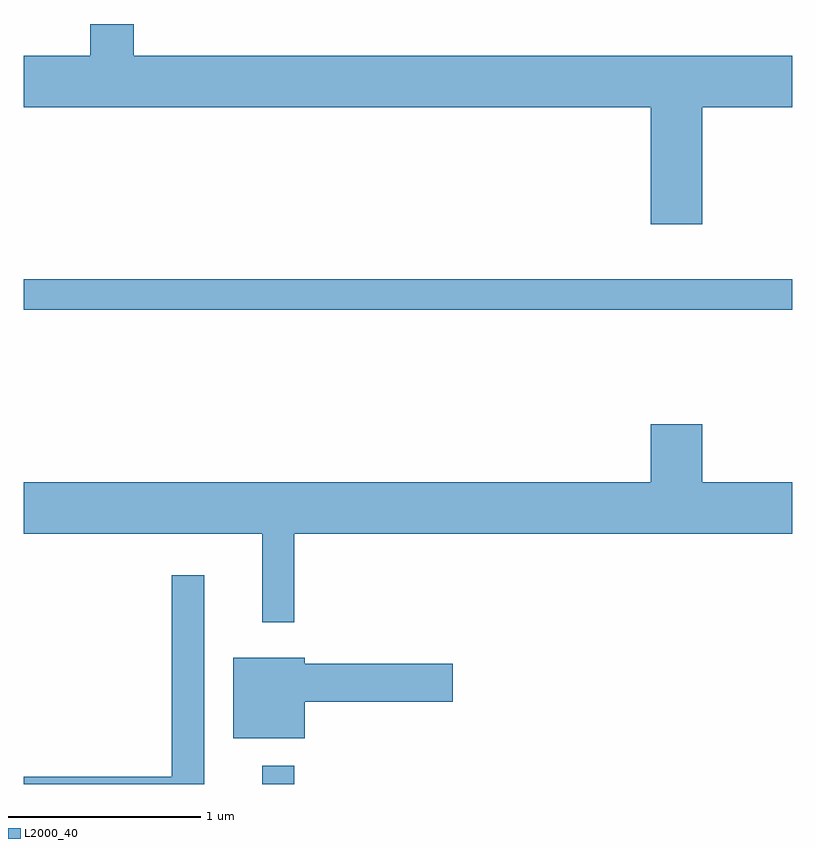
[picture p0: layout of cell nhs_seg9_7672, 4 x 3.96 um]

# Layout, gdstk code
import gdstk
lib = gdstk.Library(unit=1e-6, precision=1e-09)
def R(c, l, rs):  # rectangles x0, y0, x1, y1
    for r in rs: c.add(gdstk.rectangle(r[:2], r[2:], *l))
def P(c, l, *ps):  # polygons
    for p in ps: c.add(gdstk.Polygon(p, *l))
L2000_40 = (2000, 40)

nhs_seg9_7672 = lib.new_cell('nhs_seg9_7672')
R(nhs_seg9_7672, L2000_40, [(412.851,2070.432,413.019,2070.528), (411.611,2072.901,415.611,2073.059)])
P(nhs_seg9_7672, L2000_40, [(412.184,2074.389),(411.956,2074.389),(411.956,2074.224),(411.611,2074.224),(411.611,2073.956),(414.876,2073.956),(414.876,2073.346),(415.144,2073.346),(415.144,2073.956),(415.611,2073.956),(415.611,2074.224),(412.184,2074.224)],
  [(413.019,2071.736),(415.611,2071.736),(415.611,2072.004),(415.144,2072.004),(415.144,2072.304),(414.876,2072.304),(414.876,2072.004),(411.611,2072.004),(411.611,2071.736),(412.851,2071.736),(412.851,2071.273),(413.019,2071.273)],
  [(412.549,2071.518),(412.381,2071.518),(412.381,2070.469),(411.611,2070.469),(411.611,2070.432),(412.549,2070.432)],
  [(413.074,2070.861),(413.844,2070.861),(413.844,2071.059),(413.074,2071.059),(413.074,2071.089),(412.701,2071.089),(412.701,2070.671),(413.074,2070.671)])

lib.write_gds('nhs_seg9_7672.gds')
